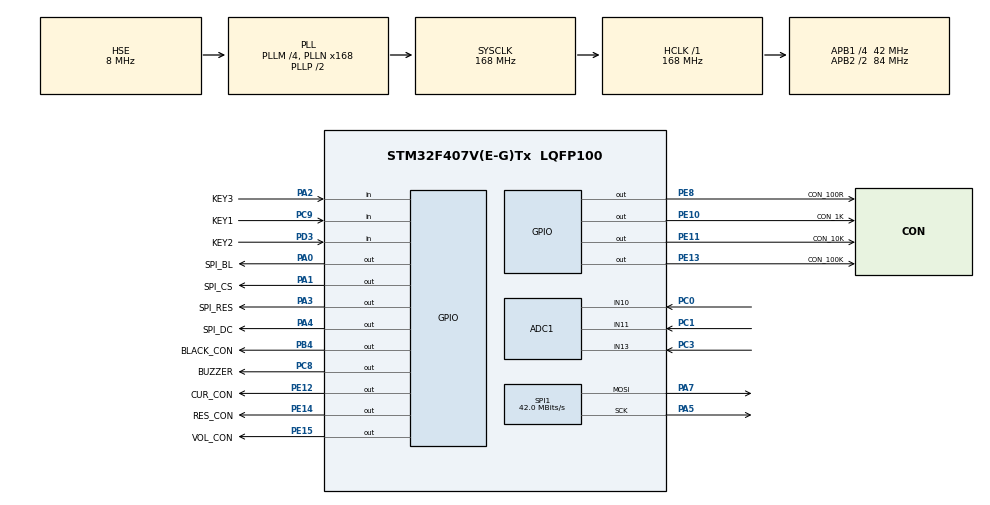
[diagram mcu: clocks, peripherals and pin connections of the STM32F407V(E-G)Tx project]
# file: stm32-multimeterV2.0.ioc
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ADC1.Channel-0\#ChannelRegularConversion=ADC_CHANNEL_10
ADC1.NbrOfConversion=1
ADC1.NbrOfConversionFlag=1
ADC1.Rank-0\#ChannelRegularConversion=1
ADC1.SamplingTime-0\#ChannelRegularConversion=ADC_SAMPLETIME_480CYCLES
ADC1.ScanConvMode=DISABLE
ADC1.master=1
IWDG.Prescaler=IWDG_PRESCALER_8
IWDG.Reload=4000
Mcu.Family=STM32F4
Mcu.Name=STM32F407V(E-G)Tx
Mcu.Package=LQFP100
NVIC.PriorityGroup=NVIC_PRIORITYGROUP_4
NVIC.TIM3_IRQn=true\:14\:0\:true\:false\:true\:true\:true\:true
PA0-WKUP.GPIO_Label=SPI_BL
PA0-WKUP.PinState=GPIO_PIN_SET
PA0-WKUP.Signal=GPIO_Output
PA1.GPIO_Label=SPI_CS
PA1.GPIO_Speed=GPIO_SPEED_FREQ_VERY_HIGH
PA1.PinState=GPIO_PIN_SET
PA1.Signal=GPIO_Output
PA13.Mode=Serial_Wire
PA13.Signal=SYS_JTMS-SWDIO
PA14.Mode=Serial_Wire
PA14.Signal=SYS_JTCK-SWCLK
PA2.GPIO_Label=KEY3
PA2.GPIO_PuPd=GPIO_PULLUP
PA2.Signal=GPIO_Input
PA3.GPIO_Label=SPI_RES
PA3.PinState=GPIO_PIN_SET
PA3.Signal=GPIO_Output
PA4.GPIO_Label=SPI_DC
PA4.PinState=GPIO_PIN_SET
PA4.Signal=GPIO_Output
PA5.Mode=TX_Only_Simplex_Unidirect_Master
PA5.Signal=SPI1_SCK
PA7.Mode=TX_Only_Simplex_Unidirect_Master
PA7.Signal=SPI1_MOSI
PB4.GPIO_Label=BLACK_CON
PB4.Signal=GPIO_Output
PC0.Signal=ADCx_IN10
PC1.Signal=ADCx_IN11
PC3.Signal=ADCx_IN13
PC8.GPIO_Label=BUZZER
PC8.Signal=GPIO_Output
PC9.GPIO_Label=KEY1
PC9.GPIO_PuPd=GPIO_PULLUP
PC9.Signal=GPIO_Input
PD3.GPIO_Label=KEY2
PD3.GPIO_PuPd=GPIO_PULLUP
PD3.Signal=GPIO_Input
PE10.GPIO_Label=CON_1K
PE10.PinState=GPIO_PIN_SET
PE10.Signal=GPIO_Output
PE11.GPIO_Label=CON_10K
PE11.PinState=GPIO_PIN_SET
PE11.Signal=GPIO_Output
PE12.GPIO_Label=CUR_CON
PE12.PinState=GPIO_PIN_RESET
PE12.Signal=GPIO_Output
PE13.GPIO_Label=CON_100K
PE13.PinState=GPIO_PIN_SET
PE13.Signal=GPIO_Output
PE14.GPIO_Label=RES_CON
PE14.Signal=GPIO_Output
PE15.GPIO_Label=VOL_CON
PE15.Signal=GPIO_Output
PE8.GPIO_Label=CON_100R
PE8.PinState=GPIO_PIN_SET
PE8.Signal=GPIO_Output
PH0-OSC_IN.Mode=HSE-External-Oscillator
PH0-OSC_IN.Signal=RCC_OSC_IN
PH1-OSC_OUT.Mode=HSE-External-Oscillator
PH1-OSC_OUT.Signal=RCC_OSC_OUT
ProjectManager.HeapSize=0x200
ProjectManager.StackSize=0x400
ProjectManager.TargetToolchain=MDK-ARM V5.32
RCC.48MHZClocksFreq_Value=84000000
RCC.AHBFreq_Value=168000000
RCC.APB1CLKDivider=RCC_HCLK_DIV4
RCC.APB1Freq_Value=42000000
RCC.APB1TimFreq_Value=84000000
RCC.APB2CLKDivider=RCC_HCLK_DIV2
RCC.APB2Freq_Value=84000000
RCC.APB2TimFreq_Value=168000000
RCC.CortexFreq_Value=168000000
RCC.HCLKFreq_Value=168000000
RCC.HSE_VALUE=8000000
RCC.HSI_VALUE=16000000
RCC.LSE_VALUE=32768
RCC.PLLM=4
RCC.PLLN=168
RCC.PLLSourceVirtual=RCC_PLLSOURCE_HSE
RCC.SYSCLKFreq_VALUE=168000000
RCC.SYSCLKSource=RCC_SYSCLKSOURCE_PLLCLK
RCC.VCOOutputFreq_Value=336000000
SH.ADCx_IN10.0=ADC1_IN10,IN10
SH.ADCx_IN11.0=ADC1_IN11,IN11
SH.ADCx_IN13.0=ADC1_IN13,IN13
SPI1.CalculateBaudRate=42.0 MBits/s
SPI1.Direction=SPI_DIRECTION_2LINES
SPI1.Mode=SPI_MODE_MASTER
SPI1.VirtualType=VM_MASTER
TIM3.AutoReloadPreload=TIM_AUTORELOAD_PRELOAD_ENABLE
TIM3.Period=999
TIM3.Prescaler=83
VP_ADC1_Vref_Input.Mode=IN-Vrefint
VP_IWDG_VS_IWDG.Mode=IWDG_Activate
VP_TIM3_VS_ClockSourceINT.Mode=Internal
board=custom

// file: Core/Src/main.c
/* USER CODE BEGIN Header */
/**
  ******************************************************************************
  * @file           : main.c
  * @brief          : Main program body
  ******************************************************************************
  * @attention
  *
  * Copyright (c) 2025 STMicroelectronics.
  * All rights reserved.
  *
  * This software is licensed under terms that can be found in the LICENSE file
  * in the root directory of this software component.
  * If no LICENSE file comes with this software, it is provided AS-IS.
  *
  ******************************************************************************
  */
/* USER CODE END Header */
#include "main.h"
#include "adc.h"
#include "iwdg.h"
#include "spi.h"
#include "tim.h"
#include "gpio.h"

/* USER CODE BEGIN Includes */
#include "bsp_key.h"
#include "bsp_tft.h"
#include "bsp_tftinit.h"
#include "bsp_timer.h"
#include "bsp_task.h"
/* USER CODE END Includes */

void SystemClock_Config(void);

int main(void)
{
  /* USER CODE BEGIN 1 */
	uint8_t keyValue = 0;							//获取按键值
	struct KeyInfo keyinfo = {0};			//按键切换信息

	keyinfo.mode = VOL_MODE;					//当前模式
	keyinfo.resistor_range = RES_0_100R;	//默认电阻分压
	keyinfo.ref_vol_value = 0;				//默认参考电压
  /* USER CODE END 1 */

  /* MCU Configuration--------------------------------------------------------*/

  /* Reset of all peripherals, Initializes the Flash interface and the Systick. */
  HAL_Init();

  /* Configure the system clock */
  SystemClock_Config();

  /* Initialize all configured peripherals */
  MX_GPIO_Init();
  MX_ADC1_Init();
  MX_SPI1_Init();
  MX_TIM3_Init();
  MX_IWDG_Init();
  /* USER CODE BEGIN 2 */
	//设置通道为内部参考电压
	Set_ADC_Channel(ADC_CHANNEL_VREFINT);
	keyinfo.ref_vol_value = Get_ADC_Average(200);	//获取200次平均值

	TFT_Init();											//初始化屏幕
	TFT_ShowStaticUI(keyinfo);			//显示静态UI
	HAL_TIM_Base_Start_IT(&htim3);	//消息定时器开始计时
	Mode_Switch(keyinfo.mode);			//模式切换所做操作
  /* USER CODE END 2 */

  /* Infinite loop */
  while (1)
  {

    /* USER CODE BEGIN 3 */
		if(wdgTimer >= 50)
		{
			HAL_IWDG_Refresh(&hiwdg);		//每隔50ms喂一次狗
			wdgTimer = 0;
		}
		if(keyTimer >= 10)						//每10ms进行按键扫描
		{
			keyTimer = 0;
			keyValue = key_scanf();
			if(keyValue!=KEY_ERROR){
				key_handle(keyValue,&keyinfo);	//如果有按键按下则进行处理
			}
			keyValue = KEY_ERROR;
		}
		if(keyinfo.mode == VOL_MODE)
		{
			//电压测量任务
			Voltage_Task(keyinfo.ref_vol_value);
		}
		else if(keyinfo.mode == RES_MODE)
		{
			//电阻测量任务
			Resistor_Task(&keyinfo,keyinfo.ref_vol_value);
		}
		else if(keyinfo.mode == CUR_MODE)
		{
			//电流测量任务
			Electricity_Task(keyinfo.ref_vol_value);
		}
		else if(keyinfo.mode == BUZ_MODE)
		{
			//通断测量任务
			Buzzing_Task(keyinfo.ref_vol_value);
		}
		else if(keyinfo.mode == DIODE_MODE)
		{
			//二极管测量任务
			Dio_Task(keyinfo.ref_vol_value);
		}
  }
  /* USER CODE END 3 */
}

void SystemClock_Config(void)
{
  RCC_OscInitTypeDef RCC_OscInitStruct = {0};
  RCC_ClkInitTypeDef RCC_ClkInitStruct = {0};

  /** Configure the main internal regulator output voltage
  */
  __HAL_RCC_PWR_CLK_ENABLE();
  __HAL_PWR_VOLTAGESCALING_CONFIG(PWR_REGULATOR_VOLTAGE_SCALE1);

  /** Initializes the RCC Oscillators according to the specified parameters
  * in the RCC_OscInitTypeDef structure.
  */
  RCC_OscInitStruct.OscillatorType = RCC_OSCILLATORTYPE_LSI|RCC_OSCILLATORTYPE_HSE;
  RCC_OscInitStruct.HSEState = RCC_HSE_ON;
  RCC_OscInitStruct.LSIState = RCC_LSI_ON;
  RCC_OscInitStruct.PLL.PLLState = RCC_PLL_ON;
  RCC_OscInitStruct.PLL.PLLSource = RCC_PLLSOURCE_HSE;
  RCC_OscInitStruct.PLL.PLLM = 4;
  RCC_OscInitStruct.PLL.PLLN = 168;
  RCC_OscInitStruct.PLL.PLLP = RCC_PLLP_DIV2;
  RCC_OscInitStruct.PLL.PLLQ = 4;
  if (HAL_RCC_OscConfig(&RCC_OscInitStruct) != HAL_OK)
  {
    Error_Handler();
  }

  /** Initializes the CPU, AHB and APB buses clocks
  */
  RCC_ClkInitStruct.ClockType = RCC_CLOCKTYPE_HCLK|RCC_CLOCKTYPE_SYSCLK
                              |RCC_CLOCKTYPE_PCLK1|RCC_CLOCKTYPE_PCLK2;
  RCC_ClkInitStruct.SYSCLKSource = RCC_SYSCLKSOURCE_PLLCLK;
  RCC_ClkInitStruct.AHBCLKDivider = RCC_SYSCLK_DIV1;
  RCC_ClkInitStruct.APB1CLKDivider = RCC_HCLK_DIV4;
  RCC_ClkInitStruct.APB2CLKDivider = RCC_HCLK_DIV2;

  if (HAL_RCC_ClockConfig(&RCC_ClkInitStruct, FLASH_LATENCY_5) != HAL_OK)
  {
    Error_Handler();
  }
}

void Error_Handler(void)
{
  __disable_irq();
  while (1)
  {
  }
}
